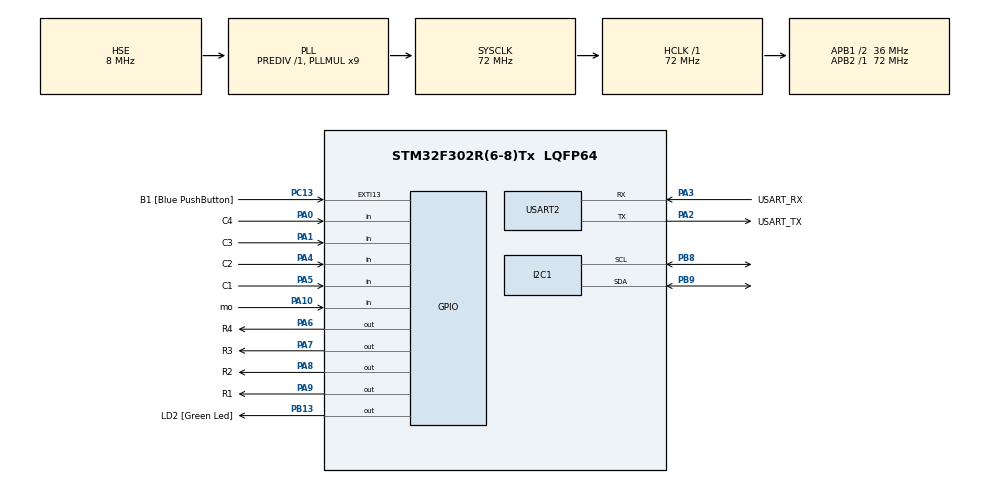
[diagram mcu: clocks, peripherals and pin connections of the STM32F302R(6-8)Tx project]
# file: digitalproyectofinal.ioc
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Mcu.Family=STM32F3
Mcu.Name=STM32F302R(6-8)Tx
Mcu.Package=LQFP64
NVIC.PriorityGroup=NVIC_PRIORITYGROUP_0
PA0.GPIO_Label=C4
PA0.GPIO_PuPd=GPIO_PULLUP
PA0.Signal=GPIO_Input
PA1.GPIO_Label=C3
PA1.GPIO_PuPd=GPIO_PULLUP
PA1.Signal=GPIO_Input
PA10.GPIO_Label=mo
PA10.Signal=GPIO_Input
PA13.GPIO_Label=TMS
PA13.Mode=Serial_Wire
PA13.Signal=SYS_JTMS-SWDIO
PA14.GPIO_Label=TCK
PA14.Mode=Serial_Wire
PA14.Signal=SYS_JTCK-SWCLK
PA2.GPIO_Label=USART_TX
PA2.GPIO_Mode=GPIO_MODE_AF_PP
PA2.GPIO_PuPd=GPIO_NOPULL
PA2.GPIO_Speed=GPIO_SPEED_FREQ_LOW
PA2.Mode=Asynchronous
PA2.Signal=USART2_TX
PA3.GPIO_Label=USART_RX
PA3.GPIO_Mode=GPIO_MODE_AF_PP
PA3.GPIO_PuPd=GPIO_NOPULL
PA3.GPIO_Speed=GPIO_SPEED_FREQ_LOW
PA3.Mode=Asynchronous
PA3.Signal=USART2_RX
PA4.GPIO_Label=C2
PA4.GPIO_PuPd=GPIO_PULLUP
PA4.Signal=GPIO_Input
PA5.GPIO_Label=C1
PA5.GPIO_PuPd=GPIO_PULLUP
PA5.Signal=GPIO_Input
PA6.GPIO_Label=R4
PA6.Signal=GPIO_Output
PA7.GPIO_Label=R3
PA7.Signal=GPIO_Output
PA8.GPIO_Label=R2
PA8.Signal=GPIO_Output
PA9.GPIO_Label=R1
PA9.Signal=GPIO_Output
PB13.GPIO_Label=LD2 [Green Led]
PB13.Signal=GPIO_Output
PB3.GPIO_Label=SWO
PB3.Mode=Trace_Asynchronous_SW
PB3.Signal=SYS_JTDO-TRACESWO
PB8.Mode=I2C
PB8.Signal=I2C1_SCL
PB9.Mode=I2C
PB9.Signal=I2C1_SDA
PC13.GPIO_Label=B1 [Blue PushButton]
PC13.GPIO_ModeDefaultEXTI=GPIO_MODE_IT_FALLING
PC13.Signal=GPXTI13
PC14\ -\ OSC32_IN.Signal=RCC_OSC32_IN
PC15\ -\ OSC32_OUT.Signal=RCC_OSC32_OUT
PF0-OSC_IN.Mode=HSE-External-Oscillator
PF0-OSC_IN.Signal=RCC_OSC_IN
PF1-OSC_OUT.Mode=HSE-External-Oscillator
PF1-OSC_OUT.Signal=RCC_OSC_OUT
ProjectManager.HeapSize=0x200
ProjectManager.StackSize=0x400
ProjectManager.TargetToolchain=STM32CubeIDE
RCC.AHBFreq_Value=72000000
RCC.APB1CLKDivider=RCC_HCLK_DIV2
RCC.APB1Freq_Value=36000000
RCC.APB1TimFreq_Value=72000000
RCC.APB2Freq_Value=72000000
RCC.APB2TimFreq_Value=72000000
RCC.CortexFreq_Value=72000000
RCC.HCLKFreq_Value=72000000
RCC.HSE_VALUE=8000000
RCC.HSI_VALUE=8000000
RCC.LSE_VALUE=32768
RCC.PLLM=8
RCC.PLLMUL=RCC_PLL_MUL9
RCC.PLLN=336
RCC.PLLP=RCC_PLLP_DIV4
RCC.PLLQ=7
RCC.PLLSourceVirtual=RCC_PLLSOURCE_HSE
RCC.SYSCLKFreq_VALUE=72000000
RCC.SYSCLKSourceVirtual=RCC_SYSCLKSOURCE_PLLCLK
RCC.USBFreq_Value=72000000
USART2.VirtualMode-Asynchronous=VM_ASYNC
board=NUCLEO-F302R8

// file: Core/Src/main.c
/* USER CODE BEGIN Header */
/**
  ******************************************************************************
  * @file           : main.c
  * @brief          : Main program body
  ******************************************************************************
  * @attention
  *
  * Copyright (c) 2025 STMicroelectronics.
  * All rights reserved.
  *
  * This software is licensed under terms that can be found in the LICENSE file
  * in the root directory of this software component.
  * If no LICENSE file comes with this software, it is provided AS-IS.
  *
  ******************************************************************************
  */
/* USER CODE END Header */
#include "main.h"

/* USER CODE BEGIN Includes */
#include "lcd.h"
#include "key_4x4.h"
#include "stdio.h"
/* USER CODE END Includes */

I2C_HandleTypeDef hi2c1;

UART_HandleTypeDef huart2;

/* USER CODE BEGIN PV */
char key;
uint16_t mo;
int count = 0;
/* USER CODE END PV */

void SystemClock_Config(void);
static void MX_GPIO_Init(void);
static void MX_USART2_UART_Init(void);
static void MX_I2C1_Init(void);

int main(void)
{

  /* MCU Configuration--------------------------------------------------------*/

  /* Reset of all peripherals, Initializes the Flash interface and the Systick. */
  HAL_Init();

  /* Configure the system clock */
  SystemClock_Config();

  /* Initialize all configured peripherals */
  MX_GPIO_Init();
  MX_USART2_UART_Init();
  MX_I2C1_Init();
  /* USER CODE BEGIN 2 */
  lcd_init();
	lcd_send_cmd(0x01); // Limpiar la pantalla

	lcd_send_cmd(0x80); // Establecer cursor en la primera línea
	lcd_send_string("  A)Riego Auto");

	lcd_send_cmd(0xC0); // Establecer cursor en la segunda línea
	lcd_send_string("B)Riego Manual");
  /* USER CODE END 2 */

  /* Infinite loop */
  /* USER CODE BEGIN WHILE */
  while (1)
  {
	  HAL_GPIO_ReadPin(mo_GPIO_Port, mo_Pin);

	  key = Keypad_Get_Char();

	  if (key == 'A'){
		  lcd_send_cmd(0x01);
		  lcd_send_cmd(0x80);
		  lcd_enviar("menu auto", 0, 0);
	if (key == '*'){
		lcd_clear();
	}
	  }

    /* USER CODE END WHILE */

  }
}

void SystemClock_Config(void)
{
  RCC_OscInitTypeDef RCC_OscInitStruct = {0};
  RCC_ClkInitTypeDef RCC_ClkInitStruct = {0};
  RCC_PeriphCLKInitTypeDef PeriphClkInit = {0};

  /** Initializes the RCC Oscillators according to the specified parameters
  * in the RCC_OscInitTypeDef structure.
  */
  RCC_OscInitStruct.OscillatorType = RCC_OSCILLATORTYPE_HSI|RCC_OSCILLATORTYPE_HSE;
  RCC_OscInitStruct.HSEState = RCC_HSE_ON;
  RCC_OscInitStruct.HSEPredivValue = RCC_HSE_PREDIV_DIV1;
  RCC_OscInitStruct.HSIState = RCC_HSI_ON;
  RCC_OscInitStruct.HSICalibrationValue = RCC_HSICALIBRATION_DEFAULT;
  RCC_OscInitStruct.PLL.PLLState = RCC_PLL_ON;
  RCC_OscInitStruct.PLL.PLLSource = RCC_PLLSOURCE_HSE;
  RCC_OscInitStruct.PLL.PLLMUL = RCC_PLL_MUL9;
  if (HAL_RCC_OscConfig(&RCC_OscInitStruct) != HAL_OK)
  {
    Error_Handler();
  }

  /** Initializes the CPU, AHB and APB buses clocks
  */
  RCC_ClkInitStruct.ClockType = RCC_CLOCKTYPE_HCLK|RCC_CLOCKTYPE_SYSCLK
                              |RCC_CLOCKTYPE_PCLK1|RCC_CLOCKTYPE_PCLK2;
  RCC_ClkInitStruct.SYSCLKSource = RCC_SYSCLKSOURCE_PLLCLK;
  RCC_ClkInitStruct.AHBCLKDivider = RCC_SYSCLK_DIV1;
  RCC_ClkInitStruct.APB1CLKDivider = RCC_HCLK_DIV2;
  RCC_ClkInitStruct.APB2CLKDivider = RCC_HCLK_DIV1;

  if (HAL_RCC_ClockConfig(&RCC_ClkInitStruct, FLASH_LATENCY_2) != HAL_OK)
  {
    Error_Handler();
  }
  PeriphClkInit.PeriphClockSelection = RCC_PERIPHCLK_I2C1;
  PeriphClkInit.I2c1ClockSelection = RCC_I2C1CLKSOURCE_HSI;
  if (HAL_RCCEx_PeriphCLKConfig(&PeriphClkInit) != HAL_OK)
  {
    Error_Handler();
  }
}

static void MX_I2C1_Init(void)
{

  hi2c1.Instance = I2C1;
  hi2c1.Init.Timing = 0x2000090E;
  hi2c1.Init.OwnAddress1 = 0;
  hi2c1.Init.AddressingMode = I2C_ADDRESSINGMODE_7BIT;
  hi2c1.Init.DualAddressMode = I2C_DUALADDRESS_DISABLE;
  hi2c1.Init.OwnAddress2 = 0;
  hi2c1.Init.OwnAddress2Masks = I2C_OA2_NOMASK;
  hi2c1.Init.GeneralCallMode = I2C_GENERALCALL_DISABLE;
  hi2c1.Init.NoStretchMode = I2C_NOSTRETCH_DISABLE;
  if (HAL_I2C_Init(&hi2c1) != HAL_OK)
  {
    Error_Handler();
  }

  /** Configure Analogue filter
  */
  if (HAL_I2CEx_ConfigAnalogFilter(&hi2c1, I2C_ANALOGFILTER_ENABLE) != HAL_OK)
  {
    Error_Handler();
  }

  /** Configure Digital filter
  */
  if (HAL_I2CEx_ConfigDigitalFilter(&hi2c1, 0) != HAL_OK)
  {
    Error_Handler();
  }

}

static void MX_USART2_UART_Init(void)
{

  huart2.Instance = USART2;
  huart2.Init.BaudRate = 38400;
  huart2.Init.WordLength = UART_WORDLENGTH_8B;
  huart2.Init.StopBits = UART_STOPBITS_1;
  huart2.Init.Parity = UART_PARITY_NONE;
  huart2.Init.Mode = UART_MODE_TX_RX;
  huart2.Init.HwFlowCtl = UART_HWCONTROL_NONE;
  huart2.Init.OverSampling = UART_OVERSAMPLING_16;
  huart2.Init.OneBitSampling = UART_ONE_BIT_SAMPLE_DISABLE;
  huart2.AdvancedInit.AdvFeatureInit = UART_ADVFEATURE_NO_INIT;
  if (HAL_UART_Init(&huart2) != HAL_OK)
  {
    Error_Handler();
  }

}

static void MX_GPIO_Init(void)
{
  GPIO_InitTypeDef GPIO_InitStruct = {0};

  /* GPIO Ports Clock Enable */
  __HAL_RCC_GPIOC_CLK_ENABLE();
  __HAL_RCC_GPIOF_CLK_ENABLE();
  __HAL_RCC_GPIOA_CLK_ENABLE();
  __HAL_RCC_GPIOB_CLK_ENABLE();

  /*Configure GPIO pin Output Level */
  HAL_GPIO_WritePin(GPIOA, R4_Pin|R3_Pin|R2_Pin|R1_Pin, GPIO_PIN_RESET);

  /*Configure GPIO pin Output Level */
  HAL_GPIO_WritePin(LD2_GPIO_Port, LD2_Pin, GPIO_PIN_RESET);

  /*Configure GPIO pin : B1_Pin */
  GPIO_InitStruct.Pin = B1_Pin;
  GPIO_InitStruct.Mode = GPIO_MODE_IT_FALLING;
  GPIO_InitStruct.Pull = GPIO_NOPULL;
  HAL_GPIO_Init(B1_GPIO_Port, &GPIO_InitStruct);

  /*Configure GPIO pins : C4_Pin C3_Pin C2_Pin C1_Pin */
  GPIO_InitStruct.Pin = C4_Pin|C3_Pin|C2_Pin|C1_Pin;
  GPIO_InitStruct.Mode = GPIO_MODE_INPUT;
  GPIO_InitStruct.Pull = GPIO_PULLUP;
  HAL_GPIO_Init(GPIOA, &GPIO_InitStruct);

  /*Configure GPIO pins : R4_Pin R3_Pin R2_Pin R1_Pin */
  GPIO_InitStruct.Pin = R4_Pin|R3_Pin|R2_Pin|R1_Pin;
  GPIO_InitStruct.Mode = GPIO_MODE_OUTPUT_PP;
  GPIO_InitStruct.Pull = GPIO_NOPULL;
  GPIO_InitStruct.Speed = GPIO_SPEED_FREQ_LOW;
  HAL_GPIO_Init(GPIOA, &GPIO_InitStruct);

  /*Configure GPIO pin : LD2_Pin */
  GPIO_InitStruct.Pin = LD2_Pin;
  GPIO_InitStruct.Mode = GPIO_MODE_OUTPUT_PP;
  GPIO_InitStruct.Pull = GPIO_NOPULL;
  GPIO_InitStruct.Speed = GPIO_SPEED_FREQ_LOW;
  HAL_GPIO_Init(LD2_GPIO_Port, &GPIO_InitStruct);

  /*Configure GPIO pin : mo_Pin */
  GPIO_InitStruct.Pin = mo_Pin;
  GPIO_InitStruct.Mode = GPIO_MODE_INPUT;
  GPIO_InitStruct.Pull = GPIO_NOPULL;
  HAL_GPIO_Init(mo_GPIO_Port, &GPIO_InitStruct);

}

void Error_Handler(void)
{
  __disable_irq();
  while (1)
  {
  }
}
